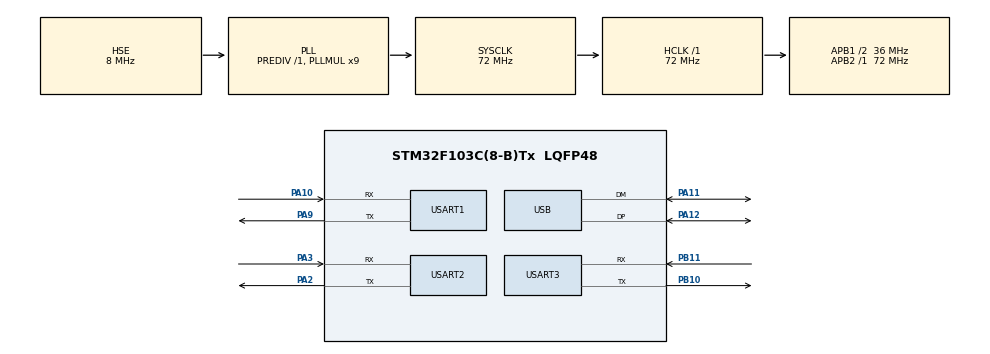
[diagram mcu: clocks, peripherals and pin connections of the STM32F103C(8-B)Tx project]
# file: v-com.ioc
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ARM.CMSIS.5.6.0.CMSISOoDriverJjUSBOoDeviceJjCustom=true
Mcu.Family=STM32F1
Mcu.Name=STM32F103C(8-B)Tx
Mcu.Package=LQFP48
NVIC.PriorityGroup=NVIC_PRIORITYGROUP_4
NVIC.USB_LP_CAN1_RX0_IRQn=true\:0\:0\:false\:false\:true\:false\:true
PA10.Mode=Asynchronous
PA10.Signal=USART1_RX
PA11.Mode=Device
PA11.Signal=USB_DM
PA12.Mode=Device
PA12.Signal=USB_DP
PA2.Mode=Asynchronous
PA2.Signal=USART2_TX
PA3.Mode=Asynchronous
PA3.Signal=USART2_RX
PA9.Mode=Asynchronous
PA9.Signal=USART1_TX
PB10.Mode=Asynchronous
PB10.Signal=USART3_TX
PB11.Mode=Asynchronous
PB11.Signal=USART3_RX
PC14-OSC32_IN.Mode=LSE-External-Oscillator
PC14-OSC32_IN.Signal=RCC_OSC32_IN
PC15-OSC32_OUT.Mode=LSE-External-Oscillator
PC15-OSC32_OUT.Signal=RCC_OSC32_OUT
PD0-OSC_IN.Mode=HSE-External-Oscillator
PD0-OSC_IN.Signal=RCC_OSC_IN
PD1-OSC_OUT.Mode=HSE-External-Oscillator
PD1-OSC_OUT.Signal=RCC_OSC_OUT
ProjectManager.HeapSize=0x200
ProjectManager.StackSize=0x400
ProjectManager.TargetToolchain=STM32CubeIDE
RCC.AHBFreq_Value=72000000
RCC.APB1CLKDivider=RCC_HCLK_DIV2
RCC.APB1Freq_Value=36000000
RCC.APB1TimFreq_Value=72000000
RCC.APB2Freq_Value=72000000
RCC.APB2TimFreq_Value=72000000
RCC.HCLKFreq_Value=72000000
RCC.PLLMUL=RCC_PLL_MUL9
RCC.PLLSourceVirtual=RCC_PLLSOURCE_HSE
RCC.SYSCLKFreq_VALUE=72000000
RCC.SYSCLKSource=RCC_SYSCLKSOURCE_PLLCLK
RCC.USBFreq_Value=48000000
RCC.USBPrescaler=RCC_USBCLKSOURCE_PLL_DIV1_5
USART1.VirtualMode=VM_ASYNC
USART2.VirtualMode=VM_ASYNC
USART3.VirtualMode=VM_ASYNC
USB_DEVICE.CLASS_NAME_FS=CDC
USB_DEVICE.USBD_MAX_NUM_CONFIGURATION=3
USB_DEVICE.USBD_MAX_NUM_INTERFACES=1
USB_DEVICE.VirtualMode=Cdc
USB_DEVICE.VirtualModeFS=Cdc_FS
VP_SYS_VS_ND.Mode=No_Debug
VP_USB_DEVICE_VS_USB_DEVICE_CDC_FS.Mode=CDC_FS
board=custom

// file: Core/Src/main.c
/* USER CODE BEGIN Header */
/**
  ******************************************************************************
  * @file           : main.c
  * @brief          : Main program body
  ******************************************************************************
  * @attention
  *
  * <h2><center>&copy; Copyright (c) 2020 STMicroelectronics.
  * All rights reserved.</center></h2>
  *
  * This software component is licensed by ST under BSD 3-Clause license,
  * the "License"; You may not use this file except in compliance with the
  * License. You may obtain a copy of the License at:
  *                        opensource.org/licenses/BSD-3-Clause
  *
  ******************************************************************************
  */
/* USER CODE END Header */

#include "main.h"
#include "usart.h"
#include "usb_device.h"
#include "gpio.h"

/* USER CODE BEGIN Includes */
#include <stdio.h>
#include "usbd_cdc_if.h"
/* USER CODE END Includes */

void SystemClock_Config(void);

int main(void)
{

  /* MCU Configuration--------------------------------------------------------*/

  /* Reset of all peripherals, Initializes the Flash interface and the Systick. */
  HAL_Init();

  /* Configure the system clock */
  SystemClock_Config();

  /* Initialize all configured peripherals */
  MX_GPIO_Init();
  MX_USB_DEVICE_Init();
  MX_USART1_UART_Init();
  MX_USART2_UART_Init();
  MX_USART3_UART_Init();
  /* USER CODE BEGIN 2 */
  uint8_t  buff[] = {"hello\n246"};

  printf("Multi virtual com\n");
  /* USER CODE END 2 */

  /* Infinite loop */
  while (1)
  {

  }
}

void SystemClock_Config(void)
{
  RCC_OscInitTypeDef RCC_OscInitStruct = {0};
  RCC_ClkInitTypeDef RCC_ClkInitStruct = {0};
  RCC_PeriphCLKInitTypeDef PeriphClkInit = {0};

  /** Initializes the CPU, AHB and APB busses clocks
  */
  RCC_OscInitStruct.OscillatorType = RCC_OSCILLATORTYPE_HSE;
  RCC_OscInitStruct.HSEState = RCC_HSE_ON;
  RCC_OscInitStruct.HSEPredivValue = RCC_HSE_PREDIV_DIV1;
  RCC_OscInitStruct.HSIState = RCC_HSI_ON;
  RCC_OscInitStruct.PLL.PLLState = RCC_PLL_ON;
  RCC_OscInitStruct.PLL.PLLSource = RCC_PLLSOURCE_HSE;
  RCC_OscInitStruct.PLL.PLLMUL = RCC_PLL_MUL9;
  if (HAL_RCC_OscConfig(&RCC_OscInitStruct) != HAL_OK)
  {
    Error_Handler();
  }
  /** Initializes the CPU, AHB and APB busses clocks
  */
  RCC_ClkInitStruct.ClockType = RCC_CLOCKTYPE_HCLK|RCC_CLOCKTYPE_SYSCLK
                              |RCC_CLOCKTYPE_PCLK1|RCC_CLOCKTYPE_PCLK2;
  RCC_ClkInitStruct.SYSCLKSource = RCC_SYSCLKSOURCE_PLLCLK;
  RCC_ClkInitStruct.AHBCLKDivider = RCC_SYSCLK_DIV1;
  RCC_ClkInitStruct.APB1CLKDivider = RCC_HCLK_DIV2;
  RCC_ClkInitStruct.APB2CLKDivider = RCC_HCLK_DIV1;

  if (HAL_RCC_ClockConfig(&RCC_ClkInitStruct, FLASH_LATENCY_2) != HAL_OK)
  {
    Error_Handler();
  }
  PeriphClkInit.PeriphClockSelection = RCC_PERIPHCLK_USB;
  PeriphClkInit.UsbClockSelection = RCC_USBCLKSOURCE_PLL_DIV1_5;
  if (HAL_RCCEx_PeriphCLKConfig(&PeriphClkInit) != HAL_OK)
  {
    Error_Handler();
  }
}

/* USER CODE BEGIN 4 */

#ifdef __GNUC__
/* With GCC/RAISONANCE, small printf (option LD Linker->Libraries->Small printf
 set to 'Yes') calls __io_putchar() */
#define PUTCHAR_PROTOTYPE int __io_putchar(int ch)
#else
#define PUTCHAR_PROTOTYPE int fputc(int ch, FILE *f)
#endif /* __GNUC__ */

/**
 * @brief Retargets the C library printf function to the USART.
 * @param None
 * @retval None
 */
PUTCHAR_PROTOTYPE
{
  if(ch == '\n')
  {
    uint8_t cr = '\r';
    HAL_UART_Transmit(&huart1, &cr, 1, 0xFFFF);
  }

  if(ch == '\r')
  {
    uint8_t cr = '\n';
    HAL_UART_Transmit(&huart1, &cr, 1, 0xFFFF);
  }

 HAL_UART_Transmit(&huart1, (uint8_t *)&ch, 1, 0xFFFF);

return ch;
}
/* USER CODE END 4 */

void Error_Handler(void)
{
}

/************************ (C) COPYRIGHT STMicroelectronics *****END OF FILE****/
